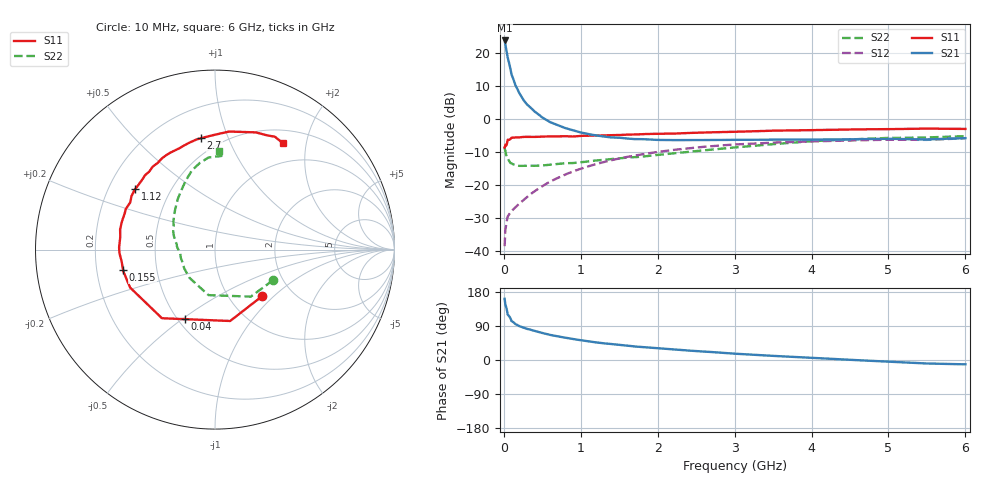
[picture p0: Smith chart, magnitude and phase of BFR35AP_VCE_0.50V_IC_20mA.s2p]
! Infineon Technologies  Discrete & RF Semiconductors
! BFR35AP
! VCE = 0.50 V,  IC =  20 mA
! Common Emitter S-Parameters:  Nov 2015
# GHz  S  MA  R  50
!  f  S11  S21  S12  S22
! GHz  MAG  ANG  MAG  ANG  MAG  ANG  MAG  ANG
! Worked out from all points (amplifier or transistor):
!   210 points, 10 MHz to 6 GHz, reference 50 ohm
!   highest |S21| = 23.7 dB at 10 MHz (marker M1)
!   |S21| within 3 dB of that: start of sweep to 34.16 MHz
!   unconditionally stable (mu >= 1): start of sweep to end of sweep
!   at 185 MHz: K = 2.67, MAG = 10.2 dB, |S12| = -26.0 dB
!   at 1.52 GHz: K = 2.61, MAG = -4.0 dB, |S12| = -11.9 dB
!   at 6 GHz: K = 1.19, MAG = -2.6 dB, |S12| = -5.9 dB
!   S11 on the Smith chart (normalised r, x): 10 MHz: 1.41, -0.85; 40 MHz: 0.54, -0.51; 155 MHz: 0.32, -0.10; 1.12 GHz: 0.31, +0.31; 2.7 GHz: 0.39, +0.80; 6 GHz: 0.68, +1.60
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0.01  0.369 -44.8  15.29 161.5  0.0119 67.3  0.3654 -28.0
0.02  0.4067 -78.0  13.47 146.1  0.0211 59.5  0.3291 -52.8
0.04  0.4227 -113.5  9.845 131.5  0.0291 46.4  0.2599 -80.6
0.05  0.4833 -127.7  8.425 119.8  0.0334 42.3  0.2562 -98.1
0.1  0.5181 -155.9  4.672 102.8  0.0402 40.0  0.2121 -132.2
0.15  0.5251 -166.7  3.23 94.7  0.046 42.8  0.2015 -148.1
0.155  0.5248 -167.3  3.152 94.3  0.0466 43.3  0.2007 -148.9
0.2  0.5244 -172.8  2.459 89.5  0.0521 47.4  0.1947 -156.0
0.26  0.5331 -178.7  1.893 84.8  0.0597 51.2  0.195 -163.0
0.3  0.5345 178.7  1.653 82.2  0.0656 53.7  0.1959 -166.2
0.4  0.5326 172.2  1.288 76.5  0.0804 56.8  0.195 -171.4
0.5  0.5406 168.0  1.048 71.2  0.096 58.9  0.1972 -175.8
0.6  0.5416 163.2  0.893 66.3  0.1122 59.4  0.2032 -179.2
1.02  0.5536 146.5  0.615 51.6  0.1792 57.2  0.2217 169.4
1.12  0.5577 142.6  0.582 48.5  0.1948 55.8  0.229 166.8
2.02  0.5948 114.4  0.48 30.7  0.318 41.1  0.2867 143.4
2.7  0.6253 97.1  0.479 21.0  0.3861 29.6  0.3426 127.8
3.1  0.6413 89.5  0.481 15.5  0.4141 22.9  0.3774 120.0
4.1  0.6779 75.0  0.487 4.7  0.4588 9.1  0.4646 105.0
5.1  0.7005 65.3  0.497 -5.4  0.4826 -2.4  0.5154 92.4
5.5  0.7119 62.0  0.488 -9.2  0.4807 -6.8  0.5231 86.0
6  0.7033 57.6  0.511 -11.4  0.5079 -10.2  0.5475 87.9
